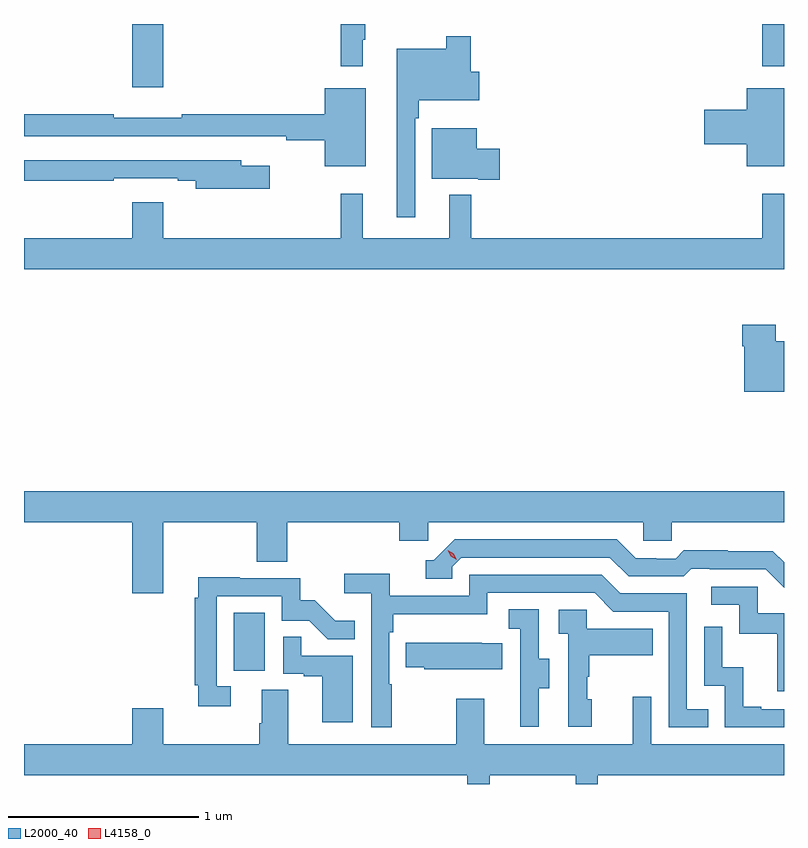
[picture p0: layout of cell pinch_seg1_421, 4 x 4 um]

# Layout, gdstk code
import gdstk
lib = gdstk.Library(unit=1e-6, precision=1e-09)
def R(c, l, rs):  # rectangles x0, y0, x1, y1
    for r in rs: c.add(gdstk.rectangle(r[:2], r[2:], *l))
def P(c, l, *ps):  # polygons
    for p in ps: c.add(gdstk.Polygon(p, *l))
L2000_40 = (2000, 40)
L4158_0 = (4158, 0)

pinch_seg1_421 = lib.new_cell('pinch_seg1_421')
R(pinch_seg1_421, L2000_40, [(920.786,534.966,920.95,535.273), (920.252,538.038,920.416,538.371), (923.569,538.149,923.683,538.371)])
P(pinch_seg1_421, L2000_40, [(921.466,538.289),(921.478,538.289),(921.478,538.371),(921.349,538.371),(921.349,538.149),(921.466,538.149)],
  [(921.741,537.875),(921.761,537.875),(921.761,537.971),(922.078,537.971),(922.078,538.119),(922.034,538.119),(922.034,538.306),(921.906,538.306),(921.906,538.24),(921.644,538.24),(921.644,537.354),(921.741,537.354)],
  [(921.481,538.033),(921.266,538.033),(921.266,537.896),(920.512,537.896),(920.512,537.877),(920.156,537.877),(920.156,537.896),(919.683,537.896),(919.683,537.78),(921.064,537.78),(921.064,537.76),(921.266,537.76),(921.266,537.623),(921.481,537.623)],
  [(923.683,538.033),(923.486,538.033),(923.486,537.92),(923.262,537.92),(923.262,537.737),(923.486,537.737),(923.486,537.623),(923.683,537.623)],
  [(922.186,537.715),(922.066,537.715),(922.066,537.823),(921.83,537.823),(921.83,537.557),(922.073,537.557),(922.073,537.55),(922.186,537.55)],
  [(920.977,537.625),(920.827,537.625),(920.827,537.654),(919.683,537.654),(919.683,537.546),(920.156,537.546),(920.156,537.558),(920.492,537.558),(920.492,537.546),(920.588,537.546),(920.588,537.503),(920.977,537.503)],
  [(923.683,537.478),(923.569,537.478),(923.569,537.244),(922.037,537.244),(922.037,537.472),(921.92,537.472),(921.92,537.244),(921.467,537.244),(921.467,537.478),(921.349,537.478),(921.349,537.244),(920.416,537.244),(920.416,537.433),(920.252,537.433),(920.252,537.244),(919.683,537.244),(919.683,537.08),(923.683,537.08)],
  [(923.683,536.701),(923.64,536.701),(923.64,536.788),(923.462,536.788),(923.462,536.675),(923.474,536.675),(923.474,536.435),(923.683,536.435)],
  [(919.683,535.748),(920.252,535.748),(920.252,535.374),(920.416,535.374),(920.416,535.748),(920.908,535.748),(920.908,535.54),(921.068,535.54),(921.068,535.748),(921.659,535.748),(921.659,535.65),(921.81,535.65),(921.81,535.748),(922.941,535.748),(922.941,535.65),(923.091,535.65),(923.091,535.748),(923.683,535.748),(923.683,535.912),(919.683,535.912)],
  [(923.683,535.538),(923.624,535.597),(923.388,535.597),(923.388,535.6),(923.155,535.6),(923.113,535.557),(923.01,535.557),(923.01,535.56),(922.903,535.56),(922.804,535.659),(921.951,535.659),(921.84,535.548),(921.797,535.548),(921.797,535.452),(921.936,535.452),(921.936,535.515),(921.984,535.563),(922.767,535.563),(922.866,535.464),(923.155,535.464),(923.194,535.503),(923.293,535.503),(923.293,535.5),(923.586,535.5),(923.683,535.403)],
  [(921.619,534.896),(921.606,534.896),(921.606,535.169),(921.626,535.169),(921.626,535.265),(922.122,535.265),(922.122,535.377),(922.686,535.377),(922.785,535.278),(923.076,535.278),(923.076,534.669),(923.285,534.669),(923.285,534.765),(923.172,534.765),(923.172,535.374),(922.822,535.374),(922.723,535.473),(922.026,535.473),(922.026,535.362),(921.608,535.362),(921.608,535.478),(921.369,535.478),(921.369,535.376),(921.51,535.376),(921.51,534.669),(921.619,534.669)],
  [(920.77,534.885),(920.697,534.885),(920.697,535.359),(921.039,535.359),(921.039,535.23),(921.183,535.23),(921.281,535.132),(921.425,535.132),(921.425,535.231),(921.321,535.231),(921.214,535.338),(921.138,535.338),(921.138,535.455),(920.819,535.455),(920.819,535.46),(920.6,535.46),(920.6,535.352),(920.581,535.352),(920.581,534.892),(920.6,534.892),(920.6,534.78),(920.77,534.78)],
  [(923.683,535.269),(923.544,535.269),(923.544,535.41),(923.301,535.41),(923.301,535.314),(923.448,535.314),(923.448,535.161),(923.647,535.161),(923.647,534.858),(923.683,534.858)],
  [(922.393,534.874),(922.447,534.874),(922.447,535.029),(922.392,535.029),(922.392,535.292),(922.233,535.292),(922.233,535.189),(922.296,535.189),(922.296,534.885),(922.295,534.885),(922.295,534.672),(922.393,534.672)],
  [(922.672,534.816),(922.647,534.816),(922.647,534.935),(922.657,534.935),(922.657,535.049),(922.991,535.049),(922.991,535.189),(922.644,535.189),(922.644,535.287),(922.497,535.287),(922.497,535.163),(922.548,535.163),(922.548,534.672),(922.672,534.672)],
  [(923.683,534.765),(923.563,534.765),(923.563,534.778),(923.468,534.778),(923.468,534.986),(923.358,534.986),(923.358,535.198),(923.262,535.198),(923.262,534.888),(923.37,534.888),(923.37,534.669),(923.683,534.669)],
  [(921.412,535.047),(921.143,535.047),(921.143,535.145),(921.048,535.145),(921.048,534.951),(921.155,534.951),(921.155,534.939),(921.254,534.939),(921.254,534.696),(921.412,534.696)],
  [(922.199,535.111),(922.091,535.111),(922.091,535.114),(921.691,535.114),(921.691,534.985),(921.789,534.985),(921.789,534.974),(922.199,534.974)],
  [(922.133,534.416),(922.586,534.416),(922.586,534.371),(922.703,534.371),(922.703,534.416),(923.683,534.416),(923.683,534.58),(922.983,534.58),(922.983,534.829),(922.886,534.829),(922.886,534.58),(922.105,534.58),(922.105,534.82),(921.958,534.82),(921.958,534.58),(921.073,534.58),(921.073,534.866),(920.933,534.866),(920.933,534.692),(920.921,534.692),(920.921,534.58),(920.416,534.58),(920.416,534.769),(920.252,534.769),(920.252,534.58),(919.683,534.58),(919.683,534.416),(922.015,534.416),(922.015,534.371),(922.133,534.371)])
P(pinch_seg1_421, L4158_0, [(921.961,535.55),(921.93,535.569),(921.913,535.601),(921.913,535.601),(921.913,535.601),(921.944,535.582),(921.961,535.55),(921.961,535.55)])

lib.write_gds('pinch_seg1_421.gds')
